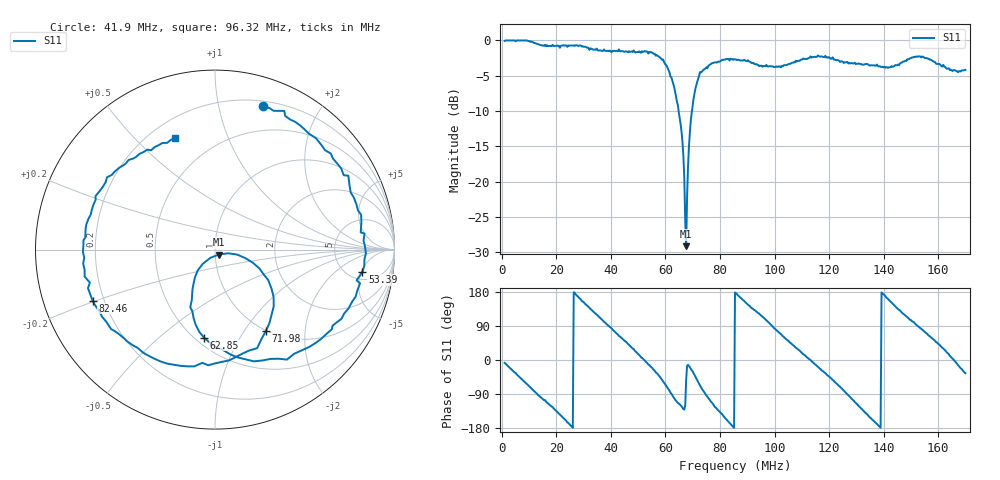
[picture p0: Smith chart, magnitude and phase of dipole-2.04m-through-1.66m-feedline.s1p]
! Touchstone file generated by AntScopeKit
# MHz S RI R 50
! Format: Frequency S-real S-imaginary (normalized to 50 Ohm)
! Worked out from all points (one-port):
!   501 points, 1 MHz to 170 MHz, reference 50 ohm
!   lowest |S11| = -29.2 dB at 67.59 MHz (marker M1), VSWR 1.07, Z = 52.1 - j2.86 ohm
!   |S11| at or under -10 dB: 64.82 MHz to 69.71 MHz (4.896 MHz wide, 7.28 % of centre)
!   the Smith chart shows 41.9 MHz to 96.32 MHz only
!   S11 on the Smith chart (normalised r, x): 41.9 MHz: 0.25, +1.36; 53.39 MHz: 6.56, -5.25; 62.85 MHz: 0.55, -0.72; 71.98 MHz: 1.00, -1.26; 82.46 MHz: 0.16, -0.20; 96.32 MHz: 0.30, +0.66
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1  0.9838 -0.1303
10.802  0.2541 -0.948
16.548  -0.3538 -0.8539
22.294  -0.8077 -0.4434
27.702  -0.904 0.1803
33.11  -0.5661 0.6601
41.898  0.2665 0.7988
43.25  0.3912 0.7446
53.39  0.8215 -0.124
59.136  0.401 -0.6128
62.854  -0.0618 -0.4897
64.544  -0.1378 -0.3207
67.586  0.0215 -0.0274
69.614  0.2726 -0.1402
71.98  0.2843 -0.4526
76.712  -0.2388 -0.6397
82.458  -0.6818 -0.284
85.5  -0.7331 0.0248
96.316  -0.2215 0.6193
106.794  0.5401 0.4385
116.258  0.7283 -0.2671
122.004  0.3934 -0.6185
127.75  -0.0915 -0.6812
137.89  -0.6515 -0.0991
149.044  -0.2613 0.6873
154.79  0.1817 0.7371
161.212  0.5419 0.3718
170  0.508 -0.3526
